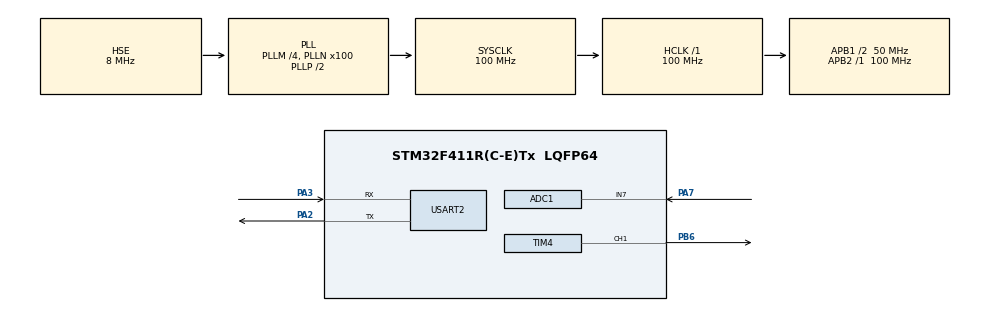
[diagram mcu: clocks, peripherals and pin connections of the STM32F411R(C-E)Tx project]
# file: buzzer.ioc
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ADC1.Channel-0\#ChannelRegularConversion=ADC_CHANNEL_7
ADC1.NbrOfConversionFlag=1
ADC1.Rank-0\#ChannelRegularConversion=1
ADC1.SamplingTime-0\#ChannelRegularConversion=ADC_SAMPLETIME_3CYCLES
ADC1.master=1
Mcu.Family=STM32F4
Mcu.Name=STM32F411R(C-E)Tx
Mcu.Package=LQFP64
NVIC.ADC_IRQn=true\:0\:0\:false\:false\:true\:true\:true\:true
NVIC.PriorityGroup=NVIC_PRIORITYGROUP_4
PA13.Mode=Serial_Wire
PA13.Signal=SYS_JTMS-SWDIO
PA14.Mode=Serial_Wire
PA14.Signal=SYS_JTCK-SWCLK
PA2.Mode=Asynchronous
PA2.Signal=USART2_TX
PA3.Mode=Asynchronous
PA3.Signal=USART2_RX
PA7.Signal=ADCx_IN7
PB6.Signal=S_TIM4_CH1
PH0\ -\ OSC_IN.Mode=HSE-External-Oscillator
PH0\ -\ OSC_IN.Signal=RCC_OSC_IN
PH1\ -\ OSC_OUT.Mode=HSE-External-Oscillator
PH1\ -\ OSC_OUT.Signal=RCC_OSC_OUT
ProjectManager.HeapSize=0x200
ProjectManager.StackSize=0x400
ProjectManager.TargetToolchain=STM32CubeIDE
RCC.48MHZClocksFreq_Value=50000000
RCC.AHBFreq_Value=100000000
RCC.APB1CLKDivider=RCC_HCLK_DIV2
RCC.APB1Freq_Value=50000000
RCC.APB1TimFreq_Value=100000000
RCC.APB2Freq_Value=100000000
RCC.APB2TimFreq_Value=100000000
RCC.CortexFreq_Value=100000000
RCC.HCLKFreq_Value=100000000
RCC.HSE_VALUE=8000000
RCC.HSI_VALUE=16000000
RCC.LSE_VALUE=32768
RCC.PLLM=4
RCC.PLLN=100
RCC.PLLSourceVirtual=RCC_PLLSOURCE_HSE
RCC.SYSCLKFreq_VALUE=100000000
RCC.SYSCLKSource=RCC_SYSCLKSOURCE_PLLCLK
RCC.VCOOutputFreq_Value=200000000
SH.ADCx_IN7.0=ADC1_IN7,IN7
SH.S_TIM4_CH1.0=TIM4_CH1,PWM Generation1 CH1
TIM4.Channel-PWM\ Generation1\ CH1=TIM_CHANNEL_1
TIM4.Period=1000-1
TIM4.Prescaler=2000-1
USART2.VirtualMode=VM_ASYNC
VP_TIM4_VS_ClockSourceINT.Mode=Internal
board=custom

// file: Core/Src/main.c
/* USER CODE BEGIN Header */
/**
  ******************************************************************************
  * @file           : main.c
  * @brief          : Main program body
  ******************************************************************************
  * @attention
  *
  * Copyright (c) 2024 STMicroelectronics.
  * All rights reserved.
  *
  * This software is licensed under terms that can be found in the LICENSE file
  * in the root directory of this software component.
  * If no LICENSE file comes with this software, it is provided AS-IS.
  *
  ******************************************************************************
  */
/* USER CODE END Header */
#include "main.h"
#include "adc.h"
#include "tim.h"
#include "usart.h"
#include "gpio.h"

/* USER CODE BEGIN Includes */

#include <stdio.h>

/* USER CODE END Includes */

/* USER CODE BEGIN PD */

#define Do  383
#define Re  340
#define Mi  304
#define Fa  287
#define Sol 255
#define Ra  227
#define Si  202
#define Doo 191

#define qNote 600
#define wNote 1800

/* USER CODE END PD */

/* USER CODE BEGIN PM */

int _write(int file, unsigned char* p, int len)
{
    HAL_StatusTypeDef status = HAL_UART_Transmit(&huart2, p, len, 100);
    return (status == HAL_OK ? len : 0);
}

/* USER CODE END PM */

/* USER CODE BEGIN PV */

uint16_t adcValue;
float adcVoltage;

/* USER CODE END PV */

void SystemClock_Config(void);

int main(void)
{

  /* MCU Configuration--------------------------------------------------------*/

  /* Reset of all peripherals, Initializes the Flash interface and the Systick. */
  HAL_Init();

  /* Configure the system clock */
  SystemClock_Config();

  /* Initialize all configured peripherals */
  MX_GPIO_Init();
  MX_TIM4_Init();
  MX_ADC1_Init();
  MX_USART2_UART_Init();
  /* USER CODE BEGIN 2 */

//  HAL_TIM_PWM_Start(&htim4, TIM_CHANNEL_1);
//
//  uint16_t song[] =
//  {
//		  Do,Mi,Sol,Do,Mi,Sol,Ra,Ra,Ra,Sol,Fa,Fa,Fa,Mi,Mi,Mi,Re,Re,Re,Do
//  };
//
//  uint16_t time[]=
//  {
//		  qNote,qNote,qNote,qNote,qNote,qNote,qNote,qNote,qNote,wNote,
//		  qNote,qNote,qNote,qNote,qNote,qNote,qNote,qNote,qNote,wNote
//  };

  /* USER CODE END 2 */

  /* Infinite loop */
  /* USER CODE BEGIN WHILE */
  while (1)
  {

	  HAL_ADC_Start(&hadc1);
	  HAL_ADC_PollForConversion(&hadc1, 500);
	  adcValue = HAL_ADC_GetValue(&hadc1);
	  adcVoltage = 3.3*((float)adcValue/4095);
	  printf("adc_value -> %d\r\n", adcValue);
	  printf("adc_voltage -> %1.2f\r\n", adcVoltage);
	  HAL_Delay(1000);

//	  for(int i = 0; i<= sizeof(song); i++)
//	  {
//		  TIM4 -> PSC = song[i];
//		  HAL_Delay(time[i]);
//		  TIM4 -> CCR1 = 0;
//		  HAL_Delay(10);
//		  TIM4 -> CCR1 = 500;
//	  }
//	  HAL_Delay(500);
//	  	 TIM4 -> CCR1 =500;
//	  	 TIM4 -> PSC = 384;
//	  uint16_t songlength = sizeof(song)/sizeof(song[0]);
//
//	  for(uint16_t i = 0; i < songlength ; i++)
//	  {
//		  TIM4 -> PSC = song[i];
//		  HAL_Delay(time[i]);
//		  TIM4 -> CCR1 = 0;
//		  HAL_Delay(20);
//		  TIM4 -> CCR1 =500;
//	  }
//	  TIM4 -> CCR1 = 0;
//	  HAL_Delay(1000);

    /* USER CODE END WHILE */

  }
}

void SystemClock_Config(void)
{
  RCC_OscInitTypeDef RCC_OscInitStruct = {0};
  RCC_ClkInitTypeDef RCC_ClkInitStruct = {0};

  /** Configure the main internal regulator output voltage
  */
  __HAL_RCC_PWR_CLK_ENABLE();
  __HAL_PWR_VOLTAGESCALING_CONFIG(PWR_REGULATOR_VOLTAGE_SCALE1);

  /** Initializes the RCC Oscillators according to the specified parameters
  * in the RCC_OscInitTypeDef structure.
  */
  RCC_OscInitStruct.OscillatorType = RCC_OSCILLATORTYPE_HSE;
  RCC_OscInitStruct.HSEState = RCC_HSE_ON;
  RCC_OscInitStruct.PLL.PLLState = RCC_PLL_ON;
  RCC_OscInitStruct.PLL.PLLSource = RCC_PLLSOURCE_HSE;
  RCC_OscInitStruct.PLL.PLLM = 4;
  RCC_OscInitStruct.PLL.PLLN = 100;
  RCC_OscInitStruct.PLL.PLLP = RCC_PLLP_DIV2;
  RCC_OscInitStruct.PLL.PLLQ = 4;
  if (HAL_RCC_OscConfig(&RCC_OscInitStruct) != HAL_OK)
  {
    Error_Handler();
  }

  /** Initializes the CPU, AHB and APB buses clocks
  */
  RCC_ClkInitStruct.ClockType = RCC_CLOCKTYPE_HCLK|RCC_CLOCKTYPE_SYSCLK
                              |RCC_CLOCKTYPE_PCLK1|RCC_CLOCKTYPE_PCLK2;
  RCC_ClkInitStruct.SYSCLKSource = RCC_SYSCLKSOURCE_PLLCLK;
  RCC_ClkInitStruct.AHBCLKDivider = RCC_SYSCLK_DIV1;
  RCC_ClkInitStruct.APB1CLKDivider = RCC_HCLK_DIV2;
  RCC_ClkInitStruct.APB2CLKDivider = RCC_HCLK_DIV1;

  if (HAL_RCC_ClockConfig(&RCC_ClkInitStruct, FLASH_LATENCY_3) != HAL_OK)
  {
    Error_Handler();
  }
}

void Error_Handler(void)
{
  __disable_irq();
  while (1)
  {
  }
}
